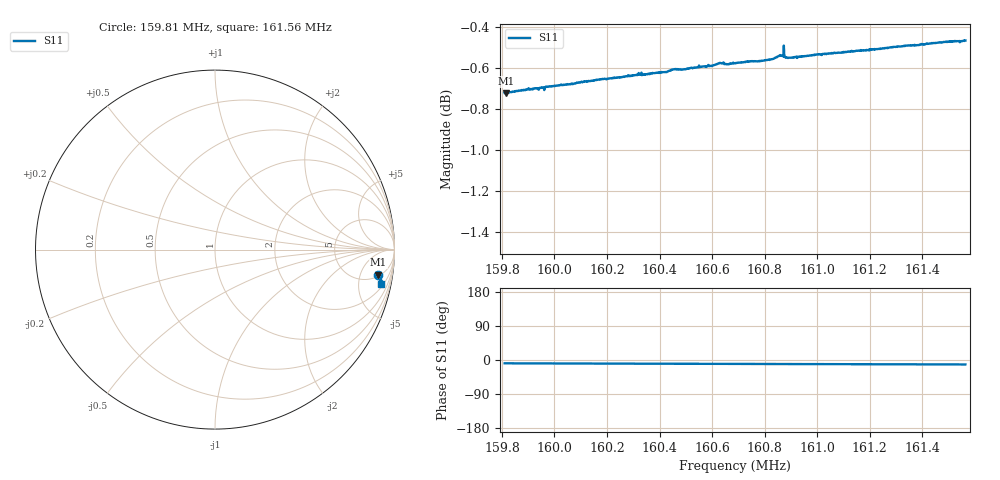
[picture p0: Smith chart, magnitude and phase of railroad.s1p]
! Calibrated averaged scanner-service zoom
# Hz S RI R 50
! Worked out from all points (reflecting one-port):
!   1001 points, 159.81 MHz to 161.56 MHz, reference 50 ohm
!   lowest |S11| = -0.7 dB at 159.82 MHz (marker M1), VSWR 23.97, Z = 275 - j502 ohm
!   phase of S11 starts at -9 deg and turns -3 deg over the sweep
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1.5981e8  0.9094 -0.1402
1.59817e8  0.9091 -0.1405
1.598995e8  0.9109 -0.1433
1.599539e8  0.9115 -0.145
1.600294e8  0.9124 -0.1473
1.602488e8  0.9154 -0.1542
1.603225e8  0.9164 -0.1563
1.60347e8  0.9162 -0.1572
1.604207e8  0.9172 -0.1596
1.604523e8  0.9183 -0.161
1.604681e8  0.9183 -0.1614
1.604927e8  0.9183 -0.1619
1.605945e8  0.9195 -0.165
1.606296e8  0.9213 -0.1639
1.606366e8  0.9209 -0.1645
1.606612e8  0.92 -0.1669
1.606875e8  0.9205 -0.1679
1.607788e8  0.9211 -0.1705
1.608244e8  0.9217 -0.172
1.608542e8  0.9235 -0.1719
1.60863e8  0.9238 -0.1721
1.608648e8  0.9236 -0.172
1.608823e8  0.9225 -0.1733
1.608841e8  0.9224 -0.1734
1.609069e8  0.9224 -0.1741
1.611262e8  0.9243 -0.1807
1.613456e8  0.9262 -0.1869
1.61565e8  0.9276 -0.1933
